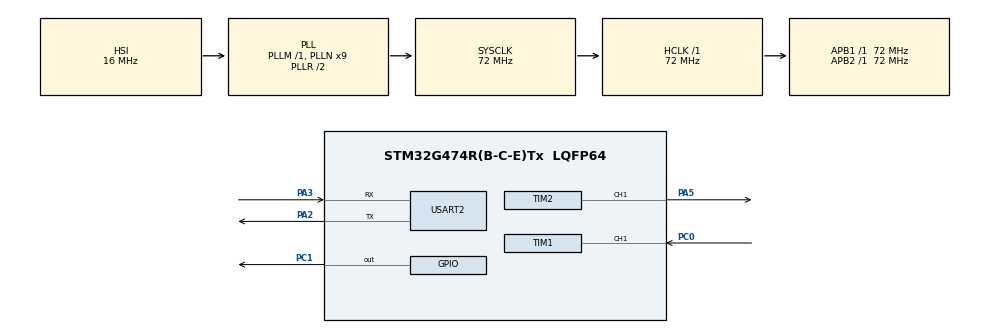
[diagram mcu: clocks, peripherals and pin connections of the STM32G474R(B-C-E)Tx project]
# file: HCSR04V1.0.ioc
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Mcu.Family=STM32G4
Mcu.Name=STM32G474R(B-C-E)Tx
Mcu.Package=LQFP64
NVIC.PriorityGroup=NVIC_PRIORITYGROUP_4
NVIC.TIM1_CC_IRQn=true\:0\:0\:false\:false\:true\:true\:true\:true
PA13.Mode=Serial_Wire
PA13.Signal=SYS_JTMS-SWDIO
PA14.Mode=Serial_Wire
PA14.Signal=SYS_JTCK-SWCLK
PA2.Mode=Asynchronous
PA2.Signal=USART2_TX
PA3.Mode=Asynchronous
PA3.Signal=USART2_RX
PA5.Signal=S_TIM2_CH1
PC0.Signal=S_TIM1_CH1
PC1.Signal=GPIO_Output
PF0-OSC_IN.Mode=HSE-External-Oscillator
PF0-OSC_IN.Signal=RCC_OSC_IN
PF1-OSC_OUT.Mode=HSE-External-Oscillator
PF1-OSC_OUT.Signal=RCC_OSC_OUT
ProjectManager.HeapSize=0x200
ProjectManager.StackSize=0x400
ProjectManager.TargetToolchain=STM32CubeIDE
RCC.ADC12Freq_Value=72000000
RCC.ADC345Freq_Value=72000000
RCC.AHBFreq_Value=72000000
RCC.APB1Freq_Value=72000000
RCC.APB1TimFreq_Value=72000000
RCC.APB2Freq_Value=72000000
RCC.APB2TimFreq_Value=72000000
RCC.CortexFreq_Value=72000000
RCC.EXTERNAL_CLOCK_VALUE=12288000
RCC.HCLKFreq_Value=72000000
RCC.HSE_VALUE=8000000
RCC.HSI48_VALUE=48000000
RCC.HSI_VALUE=16000000
RCC.LSE_VALUE=32768
RCC.PLLN=9
RCC.SYSCLKFreq_VALUE=72000000
RCC.SYSCLKSource=RCC_SYSCLKSOURCE_PLLCLK
RCC.USBFreq_Value=72000000
RCC.VCOOutputFreq_Value=144000000
SH.S_TIM1_CH1.0=TIM1_CH1,Input_Capture1_from_TI1
SH.S_TIM2_CH1.0=TIM2_CH1,PWM Generation1 CH1
TIM1.Channel-Input_Capture1_from_TI1=TIM_CHANNEL_1
TIM1.Prescaler=71
TIM2.Channel-PWM\ Generation1\ CH1=TIM_CHANNEL_1
TIM2.PeriodNoDither=399
TIM2.Prescaler=72
USART2.VirtualMode-Asynchronous=VM_ASYNC
VP_SYS_VS_DBSignals.Mode=DisableDeadBatterySignals
board=custom

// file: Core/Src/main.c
/* USER CODE BEGIN Header */
/**
  ******************************************************************************
  * @file           : main.c
  * @brief          : Main program body
  ******************************************************************************
  * @attention
  *
  * Copyright (c) 2025 STMicroelectronics.
  * All rights reserved.
  *
  * This software is licensed under terms that can be found in the LICENSE file
  * in the root directory of this software component.
  * If no LICENSE file comes with this software, it is provided AS-IS.
  *
  ******************************************************************************
  */
/* USER CODE END Header */
#include "main.h"

/* USER CODE BEGIN Includes */
#include "stdio.h"  // printf fonksiyonu için
#include "string.h"
/* USER CODE END Includes */

/* USER CODE BEGIN PD */
#define TRIG_PIN GPIO_PIN_0 // TRIG pininin GPIOC pin 0'a bağlı olduğunu varsayıyoruz
#define TRIG_PORT GPIOC
/* USER CODE END PD */

TIM_HandleTypeDef htim1;
TIM_HandleTypeDef htim2;

UART_HandleTypeDef huart2;

/* USER CODE BEGIN PV */
volatile uint32_t IC_val1 = 0;
volatile uint32_t IC_val2 = 0;
volatile uint32_t difference = 0;  // Değişken adı 'diffrence' yerine 'difference' olarak düzeltildi
volatile uint8_t Is_first_captured = 0;
volatile float Distance = 0;
volatile uint8_t Data_Ready = 0; // Yeni bir ölçümün hazır olduğunu belirten bayrak

/* USER CODE END PV */

void SystemClock_Config(void);
static void MX_GPIO_Init(void);
static void MX_TIM1_Init(void);
static void MX_TIM2_Init(void);
static void MX_USART2_UART_Init(void);
/* USER CODE BEGIN PFP */
void delay_us(uint16_t us);
void HCSR04_Trigger(void);
/* USER CODE END PFP */

/* USER CODE BEGIN 0 */

void delay_us(uint16_t us)
{
    // Bu fonksiyon, SystemCoreClock değerinizin doğru olduğundan emin olun.
    // Varsayılan 72MHz için her döngü yaklaşık 13.8 ns sürer.
    // 10us gibi kısa gecikmeler için bu "busy-wait" yaklaşımı yaygındır.
    uint32_t cycles = (SystemCoreClock / 1000000U) * us;
    while (cycles--);
}

void HAL_TIM_IC_CaptureCallback(TIM_HandleTypeDef *htim)
{
    if (htim->Channel == HAL_TIM_ACTIVE_CHANNEL_1)
    {
        if (Is_first_captured == 0) // İlk yakalama: Yükselen kenar
        {
            IC_val1 = HAL_TIM_ReadCapturedValue(htim, TIM_CHANNEL_1);
            Is_first_captured = 1;
            // Bir sonraki yakalama için düşen kenarı bekle
            __HAL_TIM_SET_CAPTUREPOLARITY(htim, TIM_CHANNEL_1, TIM_INPUTCHANNELPOLARITY_FALLING);
        }
        else // İkinci yakalama: Düşen kenar
        {
            IC_val2 = HAL_TIM_ReadCapturedValue(htim, TIM_CHANNEL_1);

            // Zamanlayıcı taşmasını kontrol ederek farkı hesapla
            if (IC_val2 >= IC_val1)
            {
                difference = IC_val2 - IC_val1;
            }
            else // Zamanlayıcı taştıysa (period 65535, 16-bit timer)
            {
                difference = (htim->Instance->ARR - IC_val1) + IC_val2 + 1;
            }

            // Mesafe hesaplaması: Süre (us) * Ses Hızı (cm/us) / 2
            // Sistem saatinin 72MHz ve Prescaler'ın 71 olduğu durumda her sayım 1 us'dir.
            // (72,000,000 Hz / (71 + 1)) = 1,000,000 Hz = 1 MHz -> Her tick 1 us
            // Ses hızı ~0.0343 cm/us
            Distance = (float)(difference * 0.0343) / 2.0;

            Is_first_captured = 0; // Bir sonraki ölçüm için bayrağı sıfırla
            Data_Ready = 1;        // Yeni verinin hazır olduğunu belirt

            // Bir sonraki ölçüm için yükselen kenarı beklemek üzere polariteyi ayarla
            __HAL_TIM_SET_CAPTUREPOLARITY(htim, TIM_CHANNEL_1, TIM_INPUTCHANNELPOLARITY_RISING);

            // **BURADAKİ HATAYI DÜZELTTİK: HAL_TIM_IC_Stop_IT fonksiyonu ikinci bir parametre bekler.**
            // Fonksiyonu doğru parametrelerle çağırarak kesmeyi durdur.
            HAL_TIM_IC_Stop_IT(htim, TIM_CHANNEL_1);

            // htim1.Instance->SR &= ~(TIM_SR_CC1IF); // Bu satır genellikle HAL tarafından yönetilir, isteğe bağlı olarak bırakılabilir.
        }
    }
}

void HCSR04_Trigger(void)
{
    // Tetikleme pininin başlangıçta düşük olduğundan emin olun
    HAL_GPIO_WritePin(TRIG_PORT, TRIG_PIN, GPIO_PIN_RESET);
    delay_us(2); // Temiz bir düşük darbe sağlamak için kısa gecikme

    // 10us'lik YÜKSEK darbe gönder
    HAL_GPIO_WritePin(TRIG_PORT, TRIG_PIN, GPIO_PIN_SET);
    delay_us(10); // 10 us darbe süresi
    HAL_GPIO_WritePin(TRIG_PORT, TRIG_PIN, GPIO_PIN_RESET);

    HAL_TIM_IC_Start_IT(&htim1, TIM_CHANNEL_1);
    Is_first_captured = 0;
    __HAL_TIM_SET_CAPTUREPOLARITY(&htim1, TIM_CHANNEL_1, TIM_INPUTCHANNELPOLARITY_RISING);
}

int __io_putchar(int ch)
{
    HAL_UART_Transmit(&huart2, (uint8_t*)&ch, 1, HAL_MAX_DELAY);
    return ch;
}
/* USER CODE END 0 */

int main(void)
{

  /* MCU Configuration--------------------------------------------------------*/

  /* Reset of all peripherals, Initializes the Flash interface and the Systick. */
  HAL_Init();

  /* Configure the system clock */
  SystemClock_Config();

  /* Initialize all configured peripherals */
  MX_GPIO_Init();
  MX_TIM1_Init(); // TIM1'i Input Capture için başlatır
  MX_TIM2_Init(); // TIM2 PWM için (bu projede doğrudan HCSR04 için kullanılmıyor)
  MX_USART2_UART_Init();
  /* USER CODE BEGIN 2 */

  printf("HC-SR04 Mesafe Ölçüm Sistemi Başlatıldı!\r\n");

  /* USER CODE END 2 */

  /* Infinite loop */
  while (1)
  {

    /* USER CODE BEGIN 3 */
    // Sensörü tetikle ve ölçümün tamamlanmasını bekle
    HCSR04_Trigger();

    while (!Data_Ready);
    Data_Ready = 0; // Bayrağı sıfırla ki bir sonraki ölçüm için tekrar bekleyebilelim.

    // Ölçülen mesafeyi UART üzerinden gönder
    printf("Mesafe: %.2f cm\r\n", Distance);

    HAL_Delay(500); // Yarım saniye bekleyin, böylece ölçümler arası bir boşluk olur
  }
  /* USER CODE END 3 */
}

void SystemClock_Config(void)
{
  RCC_OscInitTypeDef RCC_OscInitStruct = {0};
  RCC_ClkInitTypeDef RCC_ClkInitStruct = {0};

  /** Configure the main internal regulator output voltage
  */
  HAL_PWREx_ControlVoltageScaling(PWR_REGULATOR_VOLTAGE_SCALE1);

  /** Initializes the RCC Oscillators according to the specified parameters
  * in the RCC_OscInitTypeDef structure.
  */
  RCC_OscInitStruct.OscillatorType = RCC_OSCILLATORTYPE_HSI;
  RCC_OscInitStruct.HSIState = RCC_HSI_ON;
  RCC_OscInitStruct.HSICalibrationValue = RCC_HSICALIBRATION_DEFAULT;
  RCC_OscInitStruct.PLL.PLLState = RCC_PLL_ON;
  RCC_OscInitStruct.PLL.PLLSource = RCC_PLLSOURCE_HSI;
  // Burada PLL çarpanları SystemCoreClock'u 72MHz olarak ayarlıyor.
  RCC_OscInitStruct.PLL.PLLM = RCC_PLLM_DIV1;
  RCC_OscInitStruct.PLL.PLLN = 9;
  RCC_OscInitStruct.PLL.PLLP = RCC_PLLP_DIV2;
  RCC_OscInitStruct.PLL.PLLQ = RCC_PLLQ_DIV2;
  RCC_OscInitStruct.PLL.PLLR = RCC_PLLR_DIV2;
  if (HAL_RCC_OscConfig(&RCC_OscInitStruct) != HAL_OK)
  {
    Error_Handler();
  }

  /** Initializes the CPU, AHB and APB buses clocks
  */
  RCC_ClkInitStruct.ClockType = RCC_CLOCKTYPE_HCLK|RCC_CLOCKTYPE_SYSCLK
                              |RCC_CLOCKTYPE_PCLK1|RCC_CLOCKTYPE_PCLK2;
  RCC_ClkInitStruct.SYSCLKSource = RCC_SYSCLKSOURCE_PLLCLK;
  RCC_ClkInitStruct.AHBCLKDivider = RCC_SYSCLK_DIV1;
  RCC_ClkInitStruct.APB1CLKDivider = RCC_HCLK_DIV1;
  RCC_ClkInitStruct.APB2CLKDivider = RCC_HCLK_DIV1;

  if (HAL_RCC_ClockConfig(&RCC_ClkInitStruct, FLASH_LATENCY_2) != HAL_OK)
  {
    Error_Handler();
  }
}

static void MX_TIM1_Init(void)
{

  TIM_MasterConfigTypeDef sMasterConfig = {0};
  TIM_IC_InitTypeDef sConfigIC = {0};

  htim1.Instance = TIM1;
  // Prescaler: 72MHz SystemCoreClock için, (71+1) = 72. Bu, zamanlayıcıyı 1 MHz'e düşürür.
  // Yani, her zamanlayıcı sayımı 1 mikrosaniyeye eşittir.
  htim1.Init.Prescaler = 71;
  htim1.Init.CounterMode = TIM_COUNTERMODE_UP;
  htim1.Init.Period = 65535; // 16-bit zamanlayıcı için maksimum değer (0xFFFF)
  htim1.Init.ClockDivision = TIM_CLOCKDIVISION_DIV1;
  htim1.Init.RepetitionCounter = 0;
  htim1.Init.AutoReloadPreload = TIM_AUTORELOAD_PRELOAD_DISABLE;
  if (HAL_TIM_IC_Init(&htim1) != HAL_OK)
  {
    Error_Handler();
  }
  sMasterConfig.MasterOutputTrigger = TIM_TRGO_RESET;
  sMasterConfig.MasterOutputTrigger2 = TIM_TRGO2_RESET;
  sMasterConfig.MasterSlaveMode = TIM_MASTERSLAVEMODE_DISABLE;
  if (HAL_TIMEx_MasterConfigSynchronization(&htim1, &sMasterConfig) != HAL_OK)
  {
    Error_Handler();
  }
  sConfigIC.ICPolarity = TIM_INPUTCHANNELPOLARITY_RISING; // İlk olarak yükselen kenarı yakala
  sConfigIC.ICSelection = TIM_ICSELECTION_DIRECTTI;
  sConfigIC.ICPrescaler = TIM_ICPSC_DIV1;
  sConfigIC.ICFilter = 0;
  if (HAL_TIM_IC_ConfigChannel(&htim1, &sConfigIC, TIM_CHANNEL_1) != HAL_OK)
  {
    Error_Handler();
  }

}

static void MX_TIM2_Init(void)
{

  TIM_MasterConfigTypeDef sMasterConfig = {0};
  TIM_OC_InitTypeDef sConfigOC = {0};

  htim2.Instance = TIM2;
  htim2.Init.Prescaler = 72;
  htim2.Init.CounterMode = TIM_COUNTERMODE_UP;
  htim2.Init.Period = 399;
  htim2.Init.ClockDivision = TIM_CLOCKDIVISION_DIV1;
  htim2.Init.AutoReloadPreload = TIM_AUTORELOAD_PRELOAD_DISABLE;
  if (HAL_TIM_PWM_Init(&htim2) != HAL_OK)
  {
    Error_Handler();
  }
  sMasterConfig.MasterOutputTrigger = TIM_TRGO_RESET;
  sMasterConfig.MasterSlaveMode = TIM_MASTERSLAVEMODE_DISABLE;
  if (HAL_TIMEx_MasterConfigSynchronization(&htim2, &sMasterConfig) != HAL_OK)
  {
    Error_Handler();
  }
  sConfigOC.OCMode = TIM_OCMODE_PWM1;
  sConfigOC.Pulse = 0;
  sConfigOC.OCPolarity = TIM_OCPOLARITY_HIGH;
  sConfigOC.OCFastMode = TIM_OCFAST_DISABLE;
  if (HAL_TIM_PWM_ConfigChannel(&htim2, &sConfigOC, TIM_CHANNEL_1) != HAL_OK)
  {
    Error_Handler();
  }
  HAL_TIM_MspPostInit(&htim2);

}

static void MX_USART2_UART_Init(void)
{

  huart2.Instance = USART2;
  huart2.Init.BaudRate = 115200;
  huart2.Init.WordLength = UART_WORDLENGTH_8B;
  huart2.Init.StopBits = UART_STOPBITS_1;
  huart2.Init.Parity = UART_PARITY_NONE;
  huart2.Init.Mode = UART_MODE_TX_RX;
  huart2.Init.HwFlowCtl = UART_HWCONTROL_NONE;
  huart2.Init.OverSampling = UART_OVERSAMPLING_16;
  huart2.Init.OneBitSampling = UART_ONE_BIT_SAMPLE_DISABLE;
  huart2.Init.ClockPrescaler = UART_PRESCALER_DIV1;
  huart2.AdvancedInit.AdvFeatureInit = UART_ADVFEATURE_NO_INIT;
  if (HAL_UART_Init(&huart2) != HAL_OK)
  {
    Error_Handler();
  }
  if (HAL_UARTEx_SetTxFifoThreshold(&huart2, UART_TXFIFO_THRESHOLD_1_8) != HAL_OK)
  {
    Error_Handler();
  }
  if (HAL_UARTEx_SetRxFifoThreshold(&huart2, UART_RXFIFO_THRESHOLD_1_8) != HAL_OK)
  {
    Error_Handler();
  }
  if (HAL_UARTEx_DisableFifoMode(&huart2) != HAL_OK)
  {
    Error_Handler();
  }

}

static void MX_GPIO_Init(void)
{
  GPIO_InitTypeDef GPIO_InitStruct = {0};

  /* GPIO Ports Clock Enable */
  __HAL_RCC_GPIOF_CLK_ENABLE();
  __HAL_RCC_GPIOC_CLK_ENABLE();
  __HAL_RCC_GPIOA_CLK_ENABLE();

  /*Configure GPIO pin Output Level for TRIG_PIN */
  // TRIG_PIN'in (PC0) başlangıçta düşük olmasını sağla
  HAL_GPIO_WritePin(TRIG_PORT, TRIG_PIN, GPIO_PIN_RESET);

  /*Configure GPIO pin : PC0 (TRIG_PIN) */
  GPIO_InitStruct.Pin = TRIG_PIN;
  GPIO_InitStruct.Mode = GPIO_MODE_OUTPUT_PP;
  GPIO_InitStruct.Pull = GPIO_NOPULL;
  GPIO_InitStruct.Speed = GPIO_SPEED_FREQ_HIGH; // Hızlı darbe geçişi için yüksek hız
  HAL_GPIO_Init(TRIG_PORT, &GPIO_InitStruct);

  // Sensörün ECHO pini (TIM1_CH1'e bağlı olan GPIO) burada ekstradan ayarlanmaz.
  // STM32CubeMX tarafından TIM1_CH1'in Alternate Function (AF) olarak doğru GPIO pinine atanmış olması gerekir.
  // Genellikle PA8 veya PA9 kullanılır, ancak projenizin CubeMX ayarlarından kontrol etmeniz önemlidir.

}

void Error_Handler(void)
{
  __disable_irq();
  while (1)
  {
  }
}
